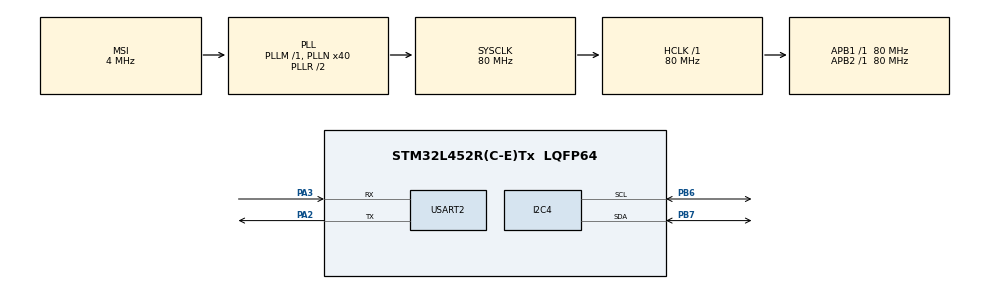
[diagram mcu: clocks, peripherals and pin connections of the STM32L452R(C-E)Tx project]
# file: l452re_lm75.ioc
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I2C4.Timing=0x10909CEC
Mcu.Family=STM32L4
Mcu.Name=STM32L452R(C-E)Tx
Mcu.Package=LQFP64
NVIC.PriorityGroup=NVIC_PRIORITYGROUP_4
PA2.Mode=Asynchronous
PA2.Signal=USART2_TX
PA3.Mode=Asynchronous
PA3.Signal=USART2_RX
PB6.Mode=I2C
PB6.Signal=I2C4_SCL
PB7.Mode=I2C
PB7.Signal=I2C4_SDA
ProjectManager.HeapSize=0x200
ProjectManager.StackSize=0x400
ProjectManager.TargetToolchain=STM32CubeIDE
RCC.AHBFreq_Value=80000000
RCC.APB1Freq_Value=80000000
RCC.APB1TimFreq_Value=80000000
RCC.APB2Freq_Value=80000000
RCC.APB2TimFreq_Value=80000000
RCC.CortexFreq_Value=80000000
RCC.HCLKFreq_Value=80000000
RCC.HSE_VALUE=8000000
RCC.HSI48_VALUE=48000000
RCC.HSI_VALUE=16000000
RCC.LSE_VALUE=32768
RCC.MSI_VALUE=4000000
RCC.PLLN=40
RCC.SYSCLKFreq_VALUE=80000000
RCC.SYSCLKSource=RCC_SYSCLKSOURCE_PLLCLK
RCC.VCOOutputFreq_Value=160000000
USART2.VirtualMode-Asynchronous=VM_ASYNC
board=custom

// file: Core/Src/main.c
/* USER CODE BEGIN Header */
/**
  ******************************************************************************
  * @file           : main.c
  * @brief          : Main program body
  ******************************************************************************
  * @attention
  *
  * <h2><center>&copy; Copyright (c) 2020 STMicroelectronics.
  * All rights reserved.</center></h2>
  *
  * This software component is licensed by ST under BSD 3-Clause license,
  * the "License"; You may not use this file except in compliance with the
  * License. You may obtain a copy of the License at:
  *                        opensource.org/licenses/BSD-3-Clause
  *
  ******************************************************************************
  */
/* USER CODE END Header */

#include "main.h"
#include "i2c.h"
#include "usart.h"
#include "gpio.h"

/* USER CODE BEGIN Includes */
#include "stdio.h"
#include "string.h"
/* USER CODE END Includes */

/* USER CODE BEGIN PD */
 HAL_StatusTypeDef ret;
static const uint8_t LM75_ADDR = 0x48 << 1;
static const uint8_t LM75_TEMP_REG = 0x00;
/* USER CODE END PD */

/* USER CODE BEGIN PV */
//PRITF
int __io_putchar(int ch)
{
	HAL_UART_Transmit(&huart2, (uint8_t *)&ch, 1, 0xFFFF);
	return ch;
}

int __io_getchar(void)
{
	int ch = 0;
	while(!__HAL_UART_GET_FLAG(&huart2, UART_FLAG_RXNE));
	HAL_UART_Receive(&huart2, (uint8_t *)&ch, 1, 0xFFFF);
	return ch;
}

uint8_t buff[16];
uint8_t rec_buff[2];
uint16_t value = 0;
float temp = 0.0;

uint8_t i  =0 ;
/* USER CODE END PV */

void SystemClock_Config(void);

int main(void)
{

  /* MCU Configuration--------------------------------------------------------*/

  /* Reset of all peripherals, Initializes the Flash interface and the Systick. */
  HAL_Init();

  /* Configure the system clock */
  SystemClock_Config();

  /* Initialize all configured peripherals */
  MX_GPIO_Init();
  MX_I2C4_Init();
  MX_USART2_UART_Init();
  /* USER CODE BEGIN 2 */

  for (i=1; i<128; i++)
  {
	  /*
	   * the HAL wants a left aligned i2c address
	   * &hi2c1 is the handle
	   * (uint16_t)(i<<1) is the i2c address left aligned
	   * retries 2
	   * timeout 2
	   */
	  int res = HAL_I2C_IsDeviceReady(&hi2c4, (uint16_t)(i<<1), 2, 2);
	  if (res != HAL_OK) // HAL_ERROR or HAL_BUSY or HAL_TIMEOUT
	  {
		  printf("."); // No ACK received at that address
	  }
	  if (res == HAL_OK)
	  {
		  printf("0x%X", i); // Received an ACK at that address
	  }
  }
  printf("\r\n");
  if((HAL_I2C_IsDeviceReady(&hi2c4, LM75_ADDR, 1, HAL_MAX_DELAY) != HAL_OK))
  {
	  printf("LM75 ERROR!\r\n\r\n");
  }
  else
  {
	  printf("LM75 READY...\r\n\r\n");
  }
  /* USER CODE END 2 */

  /* Infinite loop */
  /* USER CODE BEGIN WHILE */
  while (1)
  {

	  printf("####### BEGIN LOOP... #######\r\n");
//	  HAL_Delay(200);
	  buff[0] = LM75_TEMP_REG;

	  if(HAL_I2C_Master_Transmit(&hi2c4, LM75_ADDR, buff, 1, 50) != HAL_OK)
	  {
		  printf("Reading Sensor ERROR!");
	  }
	  else
	  {

		  HAL_I2C_Master_Receive(&hi2c4, LM75_ADDR, rec_buff, 2, 50);
		  value = (rec_buff[0] << 8) | rec_buff[1];
//		  printf("value %d \r\n", value);
		  temp = ((float)value)/256.0;
		  printf("temp %.1f ' C\r\n", temp);
		  memset(rec_buff, 0, 2);
		  printf("####### END LOOP... #######\r\n\r\n\r\n");
	  }
	  HAL_Delay(1000);
    /* USER CODE END WHILE */

  }
}

void SystemClock_Config(void)
{
  RCC_OscInitTypeDef RCC_OscInitStruct = {0};
  RCC_ClkInitTypeDef RCC_ClkInitStruct = {0};
  RCC_PeriphCLKInitTypeDef PeriphClkInit = {0};

  /** Initializes the CPU, AHB and APB busses clocks
  */
  RCC_OscInitStruct.OscillatorType = RCC_OSCILLATORTYPE_MSI;
  RCC_OscInitStruct.MSIState = RCC_MSI_ON;
  RCC_OscInitStruct.MSICalibrationValue = 0;
  RCC_OscInitStruct.MSIClockRange = RCC_MSIRANGE_6;
  RCC_OscInitStruct.PLL.PLLState = RCC_PLL_ON;
  RCC_OscInitStruct.PLL.PLLSource = RCC_PLLSOURCE_MSI;
  RCC_OscInitStruct.PLL.PLLM = 1;
  RCC_OscInitStruct.PLL.PLLN = 40;
  RCC_OscInitStruct.PLL.PLLP = RCC_PLLP_DIV7;
  RCC_OscInitStruct.PLL.PLLQ = RCC_PLLQ_DIV2;
  RCC_OscInitStruct.PLL.PLLR = RCC_PLLR_DIV2;
  if (HAL_RCC_OscConfig(&RCC_OscInitStruct) != HAL_OK)
  {
    Error_Handler();
  }
  /** Initializes the CPU, AHB and APB busses clocks
  */
  RCC_ClkInitStruct.ClockType = RCC_CLOCKTYPE_HCLK|RCC_CLOCKTYPE_SYSCLK
                              |RCC_CLOCKTYPE_PCLK1|RCC_CLOCKTYPE_PCLK2;
  RCC_ClkInitStruct.SYSCLKSource = RCC_SYSCLKSOURCE_PLLCLK;
  RCC_ClkInitStruct.AHBCLKDivider = RCC_SYSCLK_DIV1;
  RCC_ClkInitStruct.APB1CLKDivider = RCC_HCLK_DIV1;
  RCC_ClkInitStruct.APB2CLKDivider = RCC_HCLK_DIV1;

  if (HAL_RCC_ClockConfig(&RCC_ClkInitStruct, FLASH_LATENCY_4) != HAL_OK)
  {
    Error_Handler();
  }
  PeriphClkInit.PeriphClockSelection = RCC_PERIPHCLK_USART2|RCC_PERIPHCLK_I2C4;
  PeriphClkInit.Usart2ClockSelection = RCC_USART2CLKSOURCE_PCLK1;
  PeriphClkInit.I2c4ClockSelection = RCC_I2C4CLKSOURCE_PCLK1;
  if (HAL_RCCEx_PeriphCLKConfig(&PeriphClkInit) != HAL_OK)
  {
    Error_Handler();
  }
  /** Configure the main internal regulator output voltage
  */
  if (HAL_PWREx_ControlVoltageScaling(PWR_REGULATOR_VOLTAGE_SCALE1) != HAL_OK)
  {
    Error_Handler();
  }
}

void Error_Handler(void)
{
}

/************************ (C) COPYRIGHT STMicroelectronics *****END OF FILE****/
